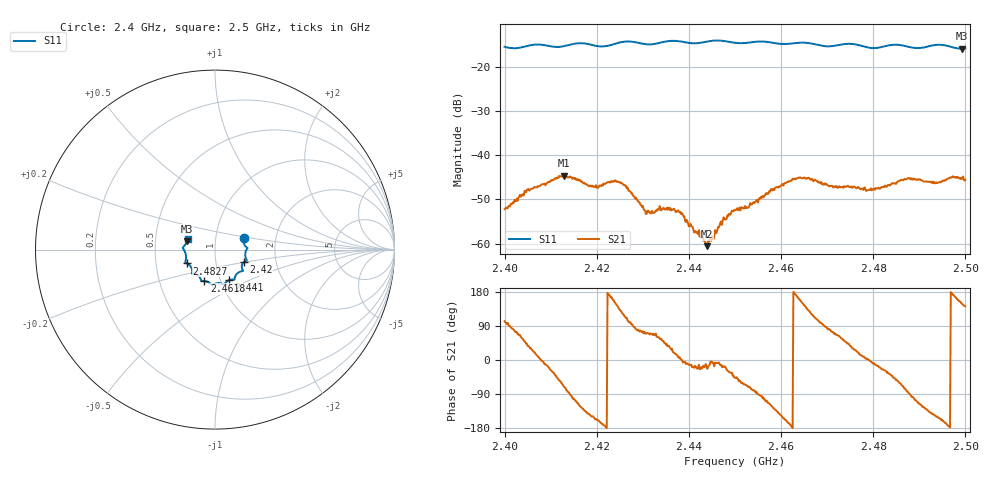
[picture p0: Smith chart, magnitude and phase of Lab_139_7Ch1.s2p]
# Hz S RI R 50
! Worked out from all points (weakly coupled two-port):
!   601 points, 2.4 GHz to 2.5 GHz, reference 50 ohm
!   highest |S21| = -44.63 dB at 2.4128 GHz (marker M1); lowest = -60.6 dB at 2.444 GHz (marker M2)
!   lowest |S11| = -15.8 dB at 2.4992 GHz (marker M3), VSWR 1.39, Z = 36.4 + j3.65 ohm
!   |S11| at or under -10 dB: start of sweep to end of sweep
!   S12 and S22 are empty: the file has one direction only
!   S11 on the Smith chart (normalised r, x): 2.4 GHz: 1.36, +0.18; 2.42 GHz: 1.36, -0.20; 2.441 GHz: 1.10, -0.39; 2.4618 GHz: 0.84, -0.30; 2.4827 GHz: 0.72, -0.12; 2.5 GHz: 0.73, +0.09
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2.4e9  0.1588 0.0628  -0.000528 0.0024  0 0  0 0
2.404833e9  0.1734 0.0149  0.00298 0.00276  0 0  0 0
2.412833e9  0.1693 -0.0377  0.00207 -0.00549  0 0  0 0
2.416667e9  0.1771 -0.0611  -0.00288 -0.00408  0 0  0 0
2.42e9  0.1596 -0.0703  -0.00398 -0.0016  0 0  0 0
2.4245e9  0.1525 -0.1104  -0.004 0.00309  0 0  0 0
2.430667e9  0.1299 -0.1283  0.000761 0.00203  0 0  0 0
2.433333e9  0.1115 -0.1508  0.00121 0.00211  0 0  0 0
2.438e9  0.1041 -0.1671  0.00222 0.000281  0 0  0 0
2.441e9  0.0786 -0.1698  0.00135 -0.00043  0 0  0 0
2.444e9  0.0555 -0.1878  0.000858 -0.000367  0 0  0 0
2.447167e9  0.047 -0.1943  0.00154 -0.000525  0 0  0 0
2.45e9  0.0285 -0.1873  0.00165 -0.00175  0 0  0 0
2.461833e9  -0.0592 -0.1752  -0.005 -0.00101  0 0  0 0
2.466667e9  -0.0785 -0.1683  -0.00271 0.00468  0 0  0 0
2.478833e9  -0.1291 -0.1069  0.00403 4.73e-05  0 0  0 0
2.482667e9  -0.1559 -0.0774  0.00392 -0.00213  0 0  0 0
2.483333e9  -0.1603 -0.0752  0.00377 -0.00269  0 0  0 0
2.487333e9  -0.1628 -0.0567  0.000688 -0.00535  0 0  0 0
2.4935e9  -0.1789 0.00716  -0.00409 -0.0026  0 0  0 0
2.499167e9  -0.1549 0.0487  -0.00463 0.00276  0 0  0 0
2.5e9  -0.1524 0.0608  -0.00414 0.00328  0 0  0 0
